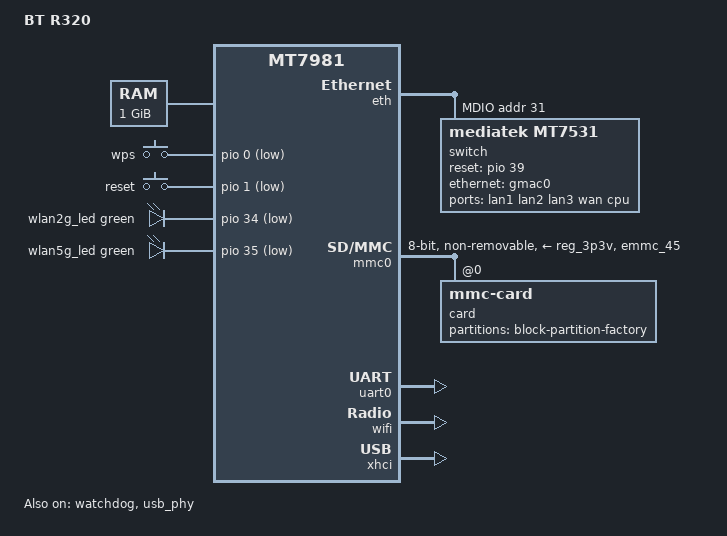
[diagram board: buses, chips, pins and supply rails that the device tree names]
// SPDX-License-Identifier: GPL-2.0-or-later OR MIT

// 声明设备树源码的版本为 v1
/dts-v1/;
// 引入必要的头文件，定义了 GPIO、按键输入和 LED 的常用宏
#include <dt-bindings/gpio/gpio.h>
#include <dt-bindings/input/input.h>
#include <dt-bindings/leds/common.h>

// 引入 MT7981B 芯片的基础定义文件（SoC 公用的寄存器、中断等都在这里面）
#include "mt7981b.dtsi"

/ {
	model = "BT R320";
	compatible = "bt,r320", "mediatek,mt7981";
  
  // 定义别名，方便其他节点引用
	aliases {
		serial0 = &uart0;
		label-mac-device = &gmac0;
	};

  // 存放由 Bootloader（如 U-Boot）传递给内核的参数
	chosen {
		bootargs = "root=PARTLABEL=rootfs rootwait";
		stdout-path = "serial0:115200n8";
	};
  
  // 定义物理内存信息
	memory {
    // 这里表示内存从 0x40000000 开始，大小为 0x40000000（即 1GB）
		reg = <0 0x40000000 0 0x40000000>;
	};

  // 定义 GPIO 按键（物理按钮）
	gpio-keys {
		compatible = "gpio-keys";

    // WPS 按键节点
		button-wps {
			label = "wps";
			linux,code = <KEY_WPS_BUTTON>;
			gpios = <&pio 0 GPIO_ACTIVE_LOW>;
		};

    // Reset 复位按键节点
		button-reset {
			label = "reset";
			linux,code = <KEY_RESTART>;
			gpios = <&pio 1 GPIO_ACTIVE_LOW>;
		};
	};

  // 定义 GPIO LED（指示灯）
	gpio-leds {
		compatible = "gpio-leds";

    // 2.4G WiFi 指示灯 LED 颜色为绿色
		wlan2g_led: led-0 {
			function = LED_FUNCTION_WLAN_2GHZ;
			color = <LED_COLOR_ID_GREEN>;
			gpios = <&pio 34 GPIO_ACTIVE_LOW>;
		};

    // 5G WiFi 指示灯 LED 颜色为绿色
		wlan5g_led: led-1 {
			function = LED_FUNCTION_WLAN_5GHZ;
			color = <LED_COLOR_ID_GREEN>;
			gpios = <&pio 35 GPIO_ACTIVE_LOW>;
		};
	};
};

// 引用并配置以太网控制器节点（&eth 定义在 mt7981b.dtsi 中）
&eth {
	status = "okay";
	gmac0: mac@0 {
		compatible = "mediatek,eth-mac";
		reg = <0>;
		phy-mode = "2500base-x";
        nvmem-cells = <&macaddr_factory_2a 0>;
        nvmem-cell-names = "mac-address";
		fixed-link {
			speed = <2500>;
			full-duplex;
			pause;
		};
	};	
		gmac1: mac@1 {
		compatible = "mediatek,eth-mac";
		reg = <1>;
		phy-mode = "gmii";
		phy-handle = <&int_gbe_phy>;
	};

	mdio: mdio-bus {
		#address-cells = <1>;
		#size-cells = <0>;

    // 定义交换机芯片节点
		switch@0 {
			compatible = "mediatek,mt7531";
			reg = <31>;
			reset-gpios = <&pio 39 0>;

      // 定义交换机的各个端口
			ports {
				#address-cells = <1>;
				#size-cells = <0>;

				port@1 {
					reg = <1>;
					label = "lan1";
				};

				port@2 {
					reg = <2>;
					label = "lan2";
				};

				port@3 {
					reg = <3>;
					label = "lan3";
				};

				port@4 {
					reg = <4>;
					label = "wan";
                    nvmem-cells = <&macaddr_factory_24 0>;
                    nvmem-cell-names = "mac-address";
				};
				
				port@6 {
					reg = <6>;
					label = "cpu";
					ethernet = <&gmac0>;
					phy-mode = "2500base-x";

					fixed-link {
						speed = <2500>;
						full-duplex;
						pause;
					};
				};
			};
		};
	};
};

// 引用并配置 eMMC 存储控制器（BT-R320 的 128GB 大容量存储就在这里配置）
&mmc0 {
	status = "okay";

	pinctrl-names = "default", "state_uhs";
	pinctrl-0 = <&mmc0_pins_default>;
	pinctrl-1 = <&mmc0_pins_uhs>;
	bus-width = <8>;
	max-frequency = <52000000>;
	vmmc-supply = <&reg_3p3v>;
	cap-mmc-highspeed;
	non-removable;
	no-sd;
	no-sdio;

	card@0 {
		compatible = "mmc-card";
		reg = <0>;

    // eMMC 存储卡节点
		block {
			compatible = "block-device";

			partitions {
				block-partition-factory {
					partname = "factory";

					nvmem-layout {
						compatible = "fixed-layout";
						#address-cells = <1>;
						#size-cells = <1>;

						eeprom_factory_0: eeprom@0 {
							reg = <0x0 0x1000>;
						};

						macaddr_factory_24: macaddr@24 {
							compatible = "mac-base";
							reg = <0x24 0x6>;
							#nvmem-cell-cells = <1>;
						};

						macaddr_factory_2a: macaddr@2a {
							compatible = "mac-base";
							reg = <0x2a 0x6>;
							#nvmem-cell-cells = <1>;
						};
					};
				};
			};
		};
	};
};

// 引用并配置 GPIO 引脚控制器
&pio {
	mmc0_pins_default: mmc0-pins-default {
		mux {
			function = "flash";
			groups = "emmc_45";
		};
	};

	mmc0_pins_uhs: mmc0-pins-uhs {
		mux {
			function = "flash";
			groups = "emmc_45";
		};
	};
};

&uart0 {
	status = "okay";
};

// 启用硬件看门狗（防止系统死机）
&watchdog {
	status = "okay";
};

// 启用无线 WiFi 模块
&wifi {
	nvmem-cells = <&eeprom_factory_0>;
	nvmem-cell-names = "eeprom";
	status = "okay";
};

// 启用 USB 物理层
&usb_phy {
	status = "okay";
};

// 启用 USB 3.0 控制器（支持外接 U 盘、硬盘等）
&xhci {
	status = "okay";
};
